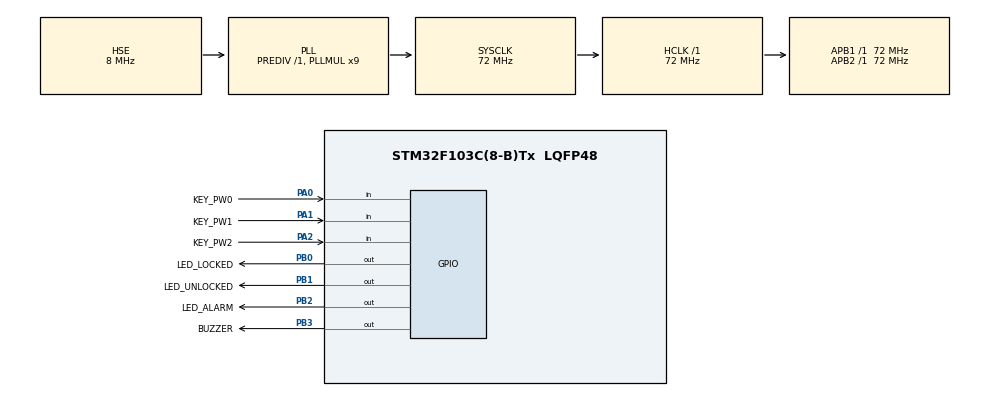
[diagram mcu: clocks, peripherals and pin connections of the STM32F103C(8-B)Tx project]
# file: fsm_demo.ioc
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Mcu.Family=STM32F1
Mcu.Name=STM32F103C(8-B)Tx
Mcu.Package=LQFP48
NVIC.PriorityGroup=NVIC_PRIORITYGROUP_4
PA0-WKUP.GPIO_Label=KEY_PW0
PA0-WKUP.GPIO_PuPd=GPIO_PULLUP
PA0-WKUP.Signal=GPIO_Input
PA1.GPIO_Label=KEY_PW1
PA1.GPIO_PuPd=GPIO_PULLUP
PA1.Signal=GPIO_Input
PA13.Mode=Serial_Wire
PA13.Signal=SYS_JTMS-SWDIO
PA14.Mode=Serial_Wire
PA14.Signal=SYS_JTCK-SWCLK
PA2.GPIO_Label=KEY_PW2
PA2.GPIO_PuPd=GPIO_PULLUP
PA2.Signal=GPIO_Input
PB0.GPIO_Label=LED_LOCKED
PB0.Signal=GPIO_Output
PB1.GPIO_Label=LED_UNLOCKED
PB1.Signal=GPIO_Output
PB2.GPIO_Label=LED_ALARM
PB2.Signal=GPIO_Output
PB3.GPIO_Label=BUZZER
PB3.Signal=GPIO_Output
PD0-OSC_IN.Mode=HSE-External-Oscillator
PD0-OSC_IN.Signal=RCC_OSC_IN
PD1-OSC_OUT.Mode=HSE-External-Oscillator
PD1-OSC_OUT.Signal=RCC_OSC_OUT
ProjectManager.HeapSize=0x200
ProjectManager.StackSize=0x400
ProjectManager.TargetToolchain=STM32CubeIDE
RCC.AHBFreq_Value=72000000
RCC.APB1Freq_Value=72000000
RCC.APB1TimFreq_Value=72000000
RCC.APB2Freq_Value=72000000
RCC.APB2TimFreq_Value=72000000
RCC.HCLKFreq_Value=72000000
RCC.PLLMUL=RCC_PLL_MUL9
RCC.PLLSourceVirtual=RCC_PLLSOURCE_HSE
RCC.SYSCLKFreq_VALUE=72000000
RCC.SYSCLKSource=RCC_SYSCLKSOURCE_PLLCLK
RCC.USBFreq_Value=72000000
board=custom

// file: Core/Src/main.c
/* USER CODE BEGIN Header */
/**
  ******************************************************************************
  * @file           : main.c
  * @brief          : Main program body
  ******************************************************************************
  * @attention
  *
  * Copyright (c) 2026 STMicroelectronics.
  * All rights reserved.
  *
  * This software is licensed under terms that can be found in the LICENSE file
  * in the root directory of this software component.
  * If no LICENSE file comes with this software, it is provided AS-IS.
  *
  ******************************************************************************
  */
/* USER CODE END Header */
#include "main.h"
#include "gpio.h"

/* USER CODE BEGIN Includes */
#include "fsm.h"
/* USER CODE END Includes */

/* USER CODE BEGIN PD */
#define PASSWORD_SEQUENCE {0, 1, 2}
/* USER CODE END PD */

void SystemClock_Config(void);
/* USER CODE BEGIN PFP */
static void process_key_input(void);
/* USER CODE END PFP */

int main(void)
{

  /* MCU Configuration--------------------------------------------------------*/

  /* Reset of all peripherals, Initializes the Flash interface and the Systick. */
  HAL_Init();

  /* Configure the system clock */
  SystemClock_Config();

  /* Initialize all configured peripherals */
  MX_GPIO_Init();
  /* USER CODE BEGIN 2 */
  fsm_init();
  /* USER CODE END 2 */

  /* Infinite loop */
  while (1)
  {

    /* USER CODE BEGIN 3 */
    process_key_input();
    HAL_Delay(100);
  }
  /* USER CODE END 3 */
}

void SystemClock_Config(void)
{
  RCC_OscInitTypeDef RCC_OscInitStruct = {0};
  RCC_ClkInitTypeDef RCC_ClkInitStruct = {0};

  /** Initializes the RCC Oscillators according to the specified parameters
  * in the RCC_OscInitTypeDef structure.
  */
  RCC_OscInitStruct.OscillatorType = RCC_OSCILLATORTYPE_HSE;
  RCC_OscInitStruct.HSEState = RCC_HSE_ON;
  RCC_OscInitStruct.HSEPredivValue = RCC_HSE_PREDIV_DIV1;
  RCC_OscInitStruct.HSIState = RCC_HSI_ON;
  RCC_OscInitStruct.PLL.PLLState = RCC_PLL_ON;
  RCC_OscInitStruct.PLL.PLLSource = RCC_PLLSOURCE_HSE;
  RCC_OscInitStruct.PLL.PLLMUL = RCC_PLL_MUL9;
  if (HAL_RCC_OscConfig(&RCC_OscInitStruct) != HAL_OK)
  {
    Error_Handler();
  }

  /** Initializes the CPU, AHB and APB buses clocks
  */
  RCC_ClkInitStruct.ClockType = RCC_CLOCKTYPE_HCLK|RCC_CLOCKTYPE_SYSCLK
                              |RCC_CLOCKTYPE_PCLK1|RCC_CLOCKTYPE_PCLK2;
  RCC_ClkInitStruct.SYSCLKSource = RCC_SYSCLKSOURCE_PLLCLK;
  RCC_ClkInitStruct.AHBCLKDivider = RCC_SYSCLK_DIV1;
  RCC_ClkInitStruct.APB1CLKDivider = RCC_HCLK_DIV1;
  RCC_ClkInitStruct.APB2CLKDivider = RCC_HCLK_DIV1;

  if (HAL_RCC_ClockConfig(&RCC_ClkInitStruct, FLASH_LATENCY_2) != HAL_OK)
  {
    Error_Handler();
  }
}

/* USER CODE BEGIN 4 */

static void process_key_input(void)
{
  static uint8_t password_index = 0;
  const uint8_t password[] = PASSWORD_SEQUENCE;
  uint8_t key_pressed = 0;
  uint8_t pressed_key = 0xFF;

  if (key_pw0_read()) {
    pressed_key = 0;
    key_pressed = 1;
  } else if (key_pw1_read()) {
    pressed_key = 1;
    key_pressed = 1;
  } else if (key_pw2_read()) {
    pressed_key = 2;
    key_pressed = 1;
  }

  if (key_pressed && pressed_key != 0xFF) {
    HAL_Delay(50);

    if (pressed_key == password[password_index]) {
      password_index++;
      if (password_index >= sizeof(password)) {
        fsm_process(EVENT_PASSWORD_OK);
        password_index = 0;
      }
    } else {
      fsm_process(EVENT_PASSWORD_ERR);
      password_index = 0;
    }

    while (key_pw0_read() || key_pw1_read() || key_pw2_read()) {
      HAL_Delay(10);
    }
  }
}

/* USER CODE END 4 */

void Error_Handler(void)
{
  __disable_irq();
  while (1)
  {
  }
}
